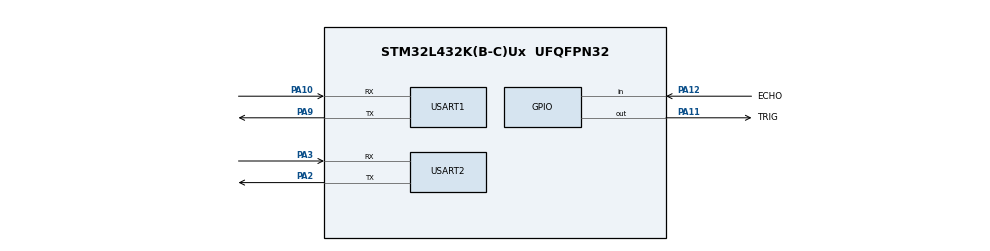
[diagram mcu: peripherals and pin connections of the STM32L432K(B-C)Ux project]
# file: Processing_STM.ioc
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Mcu.Family=STM32L4
Mcu.Name=STM32L432K(B-C)Ux
Mcu.Package=UFQFPN32
NVIC.PriorityGroup=NVIC_PRIORITYGROUP_4
PA10.Mode=Asynchronous
PA10.Signal=USART1_RX
PA11.GPIO_Label=TRIG
PA11.Signal=GPIO_Output
PA12.GPIO_Label=ECHO
PA12.Signal=GPIO_Input
PA2.Mode=Asynchronous
PA2.Signal=USART2_TX
PA3.Mode=Asynchronous
PA3.Signal=USART2_RX
PA9.Mode=Asynchronous
PA9.Signal=USART1_TX
ProjectManager.HeapSize=0x200
ProjectManager.StackSize=0x400
ProjectManager.TargetToolchain=CMake
RCC.HSE_VALUE=8000000
RCC.HSI48_VALUE=48000000
RCC.HSI_VALUE=16000000
RCC.LSE_VALUE=32768
RCC.MSI_VALUE=4000000
RCC.VCOOutputFreq_Value=32000000
TIM16.Prescaler=31
USART1.VirtualMode-Asynchronous=VM_ASYNC
USART2.VirtualMode-Asynchronous=VM_ASYNC
VP_TIM16_VS_ClockSourceINT.Mode=Enable_Timer
board=custom

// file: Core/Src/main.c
/* USER CODE BEGIN Header */
/**
  ******************************************************************************
  * @file           : main.c
  * @brief          : Main program body
  ******************************************************************************
  * @attention
  *
  * Copyright (c) 2026 STMicroelectronics.
  * All rights reserved.
  *
  * This software is licensed under terms that can be found in the LICENSE file
  * in the root directory of this software component.
  * If no LICENSE file comes with this software, it is provided AS-IS.
  *
  ******************************************************************************
  */
/* USER CODE END Header */
#include "main.h"

/* USER CODE BEGIN Includes */
#include <stdio.h>
#include <string.h>
/* USER CODE END Includes */

TIM_HandleTypeDef htim16;

UART_HandleTypeDef huart1;
UART_HandleTypeDef huart2;

void SystemClock_Config(void);
static void MX_GPIO_Init(void);
static void MX_TIM16_Init(void);
static void MX_USART1_UART_Init(void);
static void MX_USART2_UART_Init(void);

int main(void)
{

  /* MCU Configuration--------------------------------------------------------*/

  /* Reset of all peripherals, Initializes the Flash interface and the Systick. */
  HAL_Init();

  /* Configure the system clock */
  SystemClock_Config();

  /* Initialize all configured peripherals */
  MX_GPIO_Init();
  MX_TIM16_Init();
  MX_USART1_UART_Init();
  MX_USART2_UART_Init();
  /* USER CODE BEGIN 2 */
HAL_TIM_Base_Start(&htim16);
uint8_t is_recording = 0; /*recording switch*/
uint8_t prev_byte = 0; /*keeps previous byte for Mov avg filter*/
uint8_t mode = 0;
HAL_UART_Receive(&huart2, &mode, 1, HAL_MAX_DELAY); //receives mode from python
  /* USER CODE END 2 */

  /* Infinite loop */
  while (1)
  {

    /* USER CODE BEGIN 3 */

 if (mode == 'M') /*triggers manual mode*/
  {

      uint8_t raw_byte;
      if (HAL_UART_Receive(&huart1, &raw_byte, 1, 5) == HAL_OK)
      {
          /* Moving average filter of length */
          uint8_t filtered = (raw_byte + prev_byte) / 2;
          prev_byte = raw_byte; /*update our previous byt*/
          /*Send audio to PC*/
          HAL_UART_Transmit(&huart2, &filtered, 1, HAL_MAX_DELAY);
      }
  }
  else if(mode == 'D'){

      /* Trigger pulse - 10µs */
      HAL_GPIO_WritePin(TRIG_GPIO_Port, TRIG_Pin, 1);
      __HAL_TIM_SET_COUNTER(&htim16, 0); /* pass address of timer handle*/
      while (__HAL_TIM_GET_COUNTER(&htim16) < 10); /* cant use hal delay, as its in ms*/
      HAL_GPIO_WritePin(TRIG_GPIO_Port, TRIG_Pin, 0);
      /* setting high for 10us 'triggers' the pulse*/

      /* Wait for ECHO to go HIGH */
      __HAL_TIM_SET_COUNTER(&htim16, 0); /*reset the timer again*/
      while (HAL_GPIO_ReadPin(ECHO_GPIO_Port, ECHO_Pin) == 0) { /*Loops within timeout until echo goes high = precise timer reset*/
          if (__HAL_TIM_GET_COUNTER(&htim16) > 30000) break;
        }

        /* Measure echo pulse width */
        __HAL_TIM_SET_COUNTER(&htim16, 0); /*reset timer again*/
        while (HAL_GPIO_ReadPin(ECHO_GPIO_Port, ECHO_Pin) == 1) { /*Echo stays high until it receives signal, or timeout*/
            if (__HAL_TIM_GET_COUNTER(&htim16) > 38000) break; /*timeout for maximum distance of the specific sensor*/
        }
        uint32_t echo_time = __HAL_TIM_GET_COUNTER(&htim16); /*now we can get the time taken*/

        /* Distance formula: distance(cm) = echo time(µs) / 58 */
        uint32_t distance_cm = echo_time / 58;

      /* Schmitt trigger */
      if (!is_recording && distance_cm <= 10)
      {
          // Turn recording state to on
          is_recording = 1;
      }
      else if (is_recording && distance_cm > 15)
      {
          // occurs when we go too far away
          is_recording = 0;
          uint8_t stop_byte = 0xFF;
          HAL_UART_Transmit(&huart2, &stop_byte, 1, HAL_MAX_DELAY); // if we were recording, and move to far, send stop byte
      }

  /* Transfer audio if within range */
  if (is_recording)
  {
      uint8_t raw_audio_byte;

      // Pull from Sampling STM (UART1)
      if (HAL_UART_Receive(&huart1, &raw_audio_byte, 1, 5) == HAL_OK)
      {
        /*moving average filter*/
        uint8_t filtered = (raw_audio_byte + prev_byte) / 2;
        prev_byte = raw_audio_byte;
        HAL_UART_Transmit(&huart2, &filtered, 1, HAL_MAX_DELAY); /*sends to python*/

      }
  }
  else
  {
    /* Wait 60ms between readings */
    HAL_Delay(60); //once stop byte sent, we go back to sampling every 60ms
    /* USER CODE END WHILE */

    /* USER CODE BEGIN 3 */
  }
  /* USER CODE END 3 */
  }
  /* USER CODE END 3 */
}

void SystemClock_Config(void)
{
  RCC_OscInitTypeDef RCC_OscInitStruct = {0};
  RCC_ClkInitTypeDef RCC_ClkInitStruct = {0};

  /** Configure the main internal regulator output voltage
  */
  if (HAL_PWREx_ControlVoltageScaling(PWR_REGULATOR_VOLTAGE_SCALE1) != HAL_OK)
  {
    Error_Handler();
  }

  /** Initializes the RCC Oscillators according to the specified parameters
  * in the RCC_OscInitTypeDef structure.
  */
  RCC_OscInitStruct.OscillatorType = RCC_OSCILLATORTYPE_MSI;
  RCC_OscInitStruct.MSIState = RCC_MSI_ON;
  RCC_OscInitStruct.MSICalibrationValue = 0;
  RCC_OscInitStruct.MSIClockRange = RCC_MSIRANGE_6;
  RCC_OscInitStruct.PLL.PLLState = RCC_PLL_NONE;
  if (HAL_RCC_OscConfig(&RCC_OscInitStruct) != HAL_OK)
  {
    Error_Handler();
  }

  /** Initializes the CPU, AHB and APB buses clocks
  */
  RCC_ClkInitStruct.ClockType = RCC_CLOCKTYPE_HCLK|RCC_CLOCKTYPE_SYSCLK
                              |RCC_CLOCKTYPE_PCLK1|RCC_CLOCKTYPE_PCLK2;
  RCC_ClkInitStruct.SYSCLKSource = RCC_SYSCLKSOURCE_MSI;
  RCC_ClkInitStruct.AHBCLKDivider = RCC_SYSCLK_DIV1;
  RCC_ClkInitStruct.APB1CLKDivider = RCC_HCLK_DIV1;
  RCC_ClkInitStruct.APB2CLKDivider = RCC_HCLK_DIV1;

  if (HAL_RCC_ClockConfig(&RCC_ClkInitStruct, FLASH_LATENCY_0) != HAL_OK)
  {
    Error_Handler();
  }
}

static void MX_TIM16_Init(void)
{

  htim16.Instance = TIM16;
  htim16.Init.Prescaler = 31;
  htim16.Init.CounterMode = TIM_COUNTERMODE_UP;
  htim16.Init.Period = 65535;
  htim16.Init.ClockDivision = TIM_CLOCKDIVISION_DIV1;
  htim16.Init.RepetitionCounter = 0;
  htim16.Init.AutoReloadPreload = TIM_AUTORELOAD_PRELOAD_DISABLE;
  if (HAL_TIM_Base_Init(&htim16) != HAL_OK)
  {
    Error_Handler();
  }

}

static void MX_USART1_UART_Init(void)
{

  huart1.Instance = USART1;
  huart1.Init.BaudRate = 115200;
  huart1.Init.WordLength = UART_WORDLENGTH_8B;
  huart1.Init.StopBits = UART_STOPBITS_1;
  huart1.Init.Parity = UART_PARITY_NONE;
  huart1.Init.Mode = UART_MODE_TX_RX;
  huart1.Init.HwFlowCtl = UART_HWCONTROL_NONE;
  huart1.Init.OverSampling = UART_OVERSAMPLING_16;
  huart1.Init.OneBitSampling = UART_ONE_BIT_SAMPLE_DISABLE;
  huart1.AdvancedInit.AdvFeatureInit = UART_ADVFEATURE_NO_INIT;
  if (HAL_UART_Init(&huart1) != HAL_OK)
  {
    Error_Handler();
  }

}

static void MX_USART2_UART_Init(void)
{

  huart2.Instance = USART2;
  huart2.Init.BaudRate = 115200;
  huart2.Init.WordLength = UART_WORDLENGTH_8B;
  huart2.Init.StopBits = UART_STOPBITS_1;
  huart2.Init.Parity = UART_PARITY_NONE;
  huart2.Init.Mode = UART_MODE_TX_RX;
  huart2.Init.HwFlowCtl = UART_HWCONTROL_NONE;
  huart2.Init.OverSampling = UART_OVERSAMPLING_16;
  huart2.Init.OneBitSampling = UART_ONE_BIT_SAMPLE_DISABLE;
  huart2.AdvancedInit.AdvFeatureInit = UART_ADVFEATURE_NO_INIT;
  if (HAL_UART_Init(&huart2) != HAL_OK)
  {
    Error_Handler();
  }

}

static void MX_GPIO_Init(void)
{
  GPIO_InitTypeDef GPIO_InitStruct = {0};

  /* GPIO Ports Clock Enable */
  __HAL_RCC_GPIOA_CLK_ENABLE();

  /*Configure GPIO pin Output Level */
  HAL_GPIO_WritePin(TRIG_GPIO_Port, TRIG_Pin, GPIO_PIN_RESET);

  /*Configure GPIO pin : TRIG_Pin */
  GPIO_InitStruct.Pin = TRIG_Pin;
  GPIO_InitStruct.Mode = GPIO_MODE_OUTPUT_PP;
  GPIO_InitStruct.Pull = GPIO_NOPULL;
  GPIO_InitStruct.Speed = GPIO_SPEED_FREQ_LOW;
  HAL_GPIO_Init(TRIG_GPIO_Port, &GPIO_InitStruct);

  /*Configure GPIO pin : ECHO_Pin */
  GPIO_InitStruct.Pin = ECHO_Pin;
  GPIO_InitStruct.Mode = GPIO_MODE_INPUT;
  GPIO_InitStruct.Pull = GPIO_NOPULL;
  HAL_GPIO_Init(ECHO_GPIO_Port, &GPIO_InitStruct);

}

void Error_Handler(void)
{
  __disable_irq();
  while (1)
  {
  }
}
